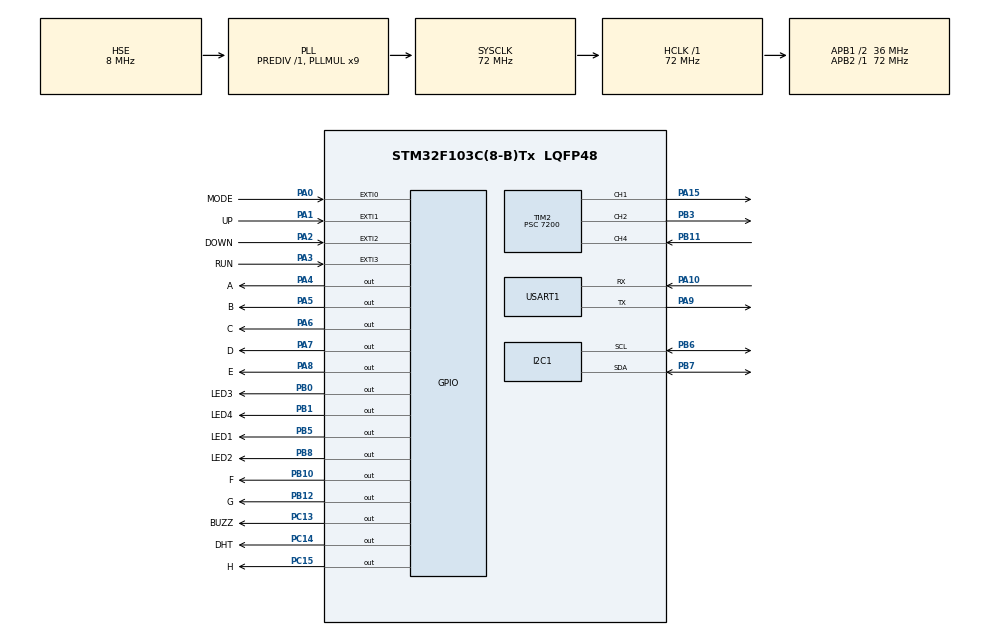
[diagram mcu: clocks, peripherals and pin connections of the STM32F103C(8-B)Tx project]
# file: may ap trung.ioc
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Mcu.Family=STM32F1
Mcu.Name=STM32F103C(8-B)Tx
Mcu.Package=LQFP48
NVIC.EXTI0_IRQn=true\:0\:0\:false\:false\:true\:true\:true\:true
NVIC.EXTI1_IRQn=true\:0\:0\:false\:false\:true\:true\:true\:true
NVIC.EXTI2_IRQn=true\:0\:0\:false\:false\:true\:true\:true\:true
NVIC.EXTI3_IRQn=true\:0\:0\:false\:false\:true\:true\:true\:true
NVIC.PriorityGroup=NVIC_PRIORITYGROUP_4
NVIC.TIM2_IRQn=true\:0\:0\:false\:false\:true\:true\:true\:true
NVIC.TIM3_IRQn=true\:0\:0\:false\:false\:true\:true\:true\:true
PA0-WKUP.GPIO_Label=MODE
PA0-WKUP.GPIO_ModeDefaultEXTI=GPIO_MODE_IT_FALLING
PA0-WKUP.GPIO_PuPd=GPIO_PULLUP
PA0-WKUP.Signal=GPXTI0
PA1.GPIO_Label=UP
PA1.GPIO_ModeDefaultEXTI=GPIO_MODE_IT_FALLING
PA1.GPIO_PuPd=GPIO_PULLUP
PA1.Signal=GPXTI1
PA10.Mode=Asynchronous
PA10.Signal=USART1_RX
PA13.Mode=Serial_Wire
PA13.Signal=SYS_JTMS-SWDIO
PA14.Mode=Serial_Wire
PA14.Signal=SYS_JTCK-SWCLK
PA15.Signal=S_TIM2_CH1_ETR
PA2.GPIO_Label=DOWN
PA2.GPIO_ModeDefaultEXTI=GPIO_MODE_IT_FALLING
PA2.GPIO_PuPd=GPIO_PULLUP
PA2.Signal=GPXTI2
PA3.GPIO_Label=RUN
PA3.GPIO_ModeDefaultEXTI=GPIO_MODE_IT_FALLING
PA3.GPIO_PuPd=GPIO_PULLUP
PA3.Signal=GPXTI3
PA4.GPIO_Label=A
PA4.Signal=GPIO_Output
PA5.GPIO_Label=B
PA5.Signal=GPIO_Output
PA6.GPIO_Label=C
PA6.Signal=GPIO_Output
PA7.GPIO_Label=D
PA7.Signal=GPIO_Output
PA8.GPIO_Label=E
PA8.Signal=GPIO_Output
PA9.Mode=Asynchronous
PA9.Signal=USART1_TX
PB0.GPIO_Label=LED3
PB0.Signal=GPIO_Output
PB1.GPIO_Label=LED4
PB1.Signal=GPIO_Output
PB10.GPIO_Label=F
PB10.Signal=GPIO_Output
PB11.Signal=S_TIM2_CH4
PB12.GPIO_Label=G
PB12.Signal=GPIO_Output
PB3.Signal=S_TIM2_CH2
PB5.GPIO_Label=LED1
PB5.Signal=GPIO_Output
PB6.Mode=I2C
PB6.Signal=I2C1_SCL
PB7.Mode=I2C
PB7.Signal=I2C1_SDA
PB8.GPIO_Label=LED2
PB8.Signal=GPIO_Output
PC13-TAMPER-RTC.GPIO_Label=BUZZ
PC13-TAMPER-RTC.Signal=GPIO_Output
PC14-OSC32_IN.GPIO_Label=DHT
PC14-OSC32_IN.Signal=GPIO_Output
PC15-OSC32_OUT.GPIO_Label=H
PC15-OSC32_OUT.Signal=GPIO_Output
PD0-OSC_IN.Mode=HSE-External-Oscillator
PD0-OSC_IN.Signal=RCC_OSC_IN
PD1-OSC_OUT.Mode=HSE-External-Oscillator
PD1-OSC_OUT.Signal=RCC_OSC_OUT
ProjectManager.HeapSize=0x200
ProjectManager.StackSize=0x400
ProjectManager.TargetToolchain=MDK-ARM V5
RCC.AHBFreq_Value=72000000
RCC.APB1CLKDivider=RCC_HCLK_DIV2
RCC.APB1Freq_Value=36000000
RCC.APB1TimFreq_Value=72000000
RCC.APB2Freq_Value=72000000
RCC.APB2TimFreq_Value=72000000
RCC.HCLKFreq_Value=72000000
RCC.PLLMUL=RCC_PLL_MUL9
RCC.PLLSourceVirtual=RCC_PLLSOURCE_HSE
RCC.SYSCLKFreq_VALUE=72000000
RCC.SYSCLKSource=RCC_SYSCLKSOURCE_PLLCLK
RCC.USBFreq_Value=72000000
SH.S_TIM2_CH1_ETR.0=TIM2_CH1,PWM Generation1 CH1
SH.S_TIM2_CH2.0=TIM2_CH2,PWM Generation2 CH2
SH.S_TIM2_CH4.0=TIM2_CH4,Input_Capture4_from_TI4
TIM2.Channel-Input_Capture4_from_TI4=TIM_CHANNEL_4
TIM2.Channel-PWM\ Generation1\ CH1=TIM_CHANNEL_1
TIM2.Channel-PWM\ Generation2\ CH2=TIM_CHANNEL_2
TIM2.Prescaler=7200
TIM3.Period=1000-1
TIM3.Prescaler=8000
TIM4.Prescaler=8000-1
USART1.VirtualMode=VM_ASYNC
VP_TIM3_VS_ClockSourceINT.Mode=Internal
VP_TIM4_VS_ClockSourceINT.Mode=Internal
board=custom

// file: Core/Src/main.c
/* USER CODE BEGIN Header */
/**
  ******************************************************************************
  * @file           : main.c
  * @brief          : Main program body
  ******************************************************************************
  * @attention
  *
  * Copyright (c) 2023 STMicroelectronics.
  * All rights reserved.
  *
  * This software is licensed under terms that can be found in the LICENSE file
  * in the root directory of this software component.
  * If no LICENSE file comes with this software, it is provided AS-IS.
  *
  ******************************************************************************
  */
/* USER CODE END Header */
#include "main.h"
/* USER CODE BEGIN Includes */
#include "variable.h"

/* USER CODE END Includes */

I2C_HandleTypeDef hi2c1;

TIM_HandleTypeDef htim2;
TIM_HandleTypeDef htim3;
TIM_HandleTypeDef htim4;

UART_HandleTypeDef huart1;

void SystemClock_Config(void);
static void MX_GPIO_Init(void);
static void MX_I2C1_Init(void);
static void MX_TIM2_Init(void);
static void MX_USART1_UART_Init(void);
static void MX_TIM3_Init(void);
static void MX_TIM4_Init(void);

int main(void)
{

  /* MCU Configuration--------------------------------------------------------*/

  /* Reset of all peripherals, Initializes the Flash interface and the Systick. */
  HAL_Init();

  /* Configure the system clock */
  SystemClock_Config();

  /* Initialize all configured peripherals */
  MX_GPIO_Init();
  MX_I2C1_Init();
  MX_TIM2_Init();
  MX_USART1_UART_Init();
  MX_TIM3_Init();
  MX_TIM4_Init();
  /* USER CODE BEGIN 2 */
	HAL_GPIO_WritePin(BUZZ_GPIO_Port, BUZZ_Pin, 1);
	DELAY_TIM_Init(&htim4);
	DHT_Init(&DHT, DHT11, &htim4, DHT_GPIO_Port, DHT_Pin);
	DS3231_Init(&DS3231, &hi2c1);

	#ifdef DEBUG
		printf("setup done");
	#endif

  /* USER CODE END 2 */

  /* Infinite loop */
  while (1)
  {

    /* USER CODE BEGIN 3 */
		if(mode == RUN)
		{
			//button_scan();
			button_handle();
			sensor_read();
			sensor_handle();
			led7_display();
		}
		else if(mode == SETTING)
		{
			button_scan();
			button_handle();
			led7_display();
		}
		else if(mode == TEST)
		{
			//hardware test
			LED7_Test();

			//function test

		}

	}
  /* USER CODE END 3 */
}

void SystemClock_Config(void)
{
  RCC_OscInitTypeDef RCC_OscInitStruct = {0};
  RCC_ClkInitTypeDef RCC_ClkInitStruct = {0};

  /** Initializes the RCC Oscillators according to the specified parameters
  * in the RCC_OscInitTypeDef structure.
  */
  RCC_OscInitStruct.OscillatorType = RCC_OSCILLATORTYPE_HSE;
  RCC_OscInitStruct.HSEState = RCC_HSE_ON;
  RCC_OscInitStruct.HSEPredivValue = RCC_HSE_PREDIV_DIV1;
  RCC_OscInitStruct.HSIState = RCC_HSI_ON;
  RCC_OscInitStruct.PLL.PLLState = RCC_PLL_ON;
  RCC_OscInitStruct.PLL.PLLSource = RCC_PLLSOURCE_HSE;
  RCC_OscInitStruct.PLL.PLLMUL = RCC_PLL_MUL9;
  if (HAL_RCC_OscConfig(&RCC_OscInitStruct) != HAL_OK)
  {
    Error_Handler();
  }

  /** Initializes the CPU, AHB and APB buses clocks
  */
  RCC_ClkInitStruct.ClockType = RCC_CLOCKTYPE_HCLK|RCC_CLOCKTYPE_SYSCLK
                              |RCC_CLOCKTYPE_PCLK1|RCC_CLOCKTYPE_PCLK2;
  RCC_ClkInitStruct.SYSCLKSource = RCC_SYSCLKSOURCE_PLLCLK;
  RCC_ClkInitStruct.AHBCLKDivider = RCC_SYSCLK_DIV1;
  RCC_ClkInitStruct.APB1CLKDivider = RCC_HCLK_DIV2;
  RCC_ClkInitStruct.APB2CLKDivider = RCC_HCLK_DIV1;

  if (HAL_RCC_ClockConfig(&RCC_ClkInitStruct, FLASH_LATENCY_2) != HAL_OK)
  {
    Error_Handler();
  }
}

static void MX_I2C1_Init(void)
{

  hi2c1.Instance = I2C1;
  hi2c1.Init.ClockSpeed = 100000;
  hi2c1.Init.DutyCycle = I2C_DUTYCYCLE_2;
  hi2c1.Init.OwnAddress1 = 0;
  hi2c1.Init.AddressingMode = I2C_ADDRESSINGMODE_7BIT;
  hi2c1.Init.DualAddressMode = I2C_DUALADDRESS_DISABLE;
  hi2c1.Init.OwnAddress2 = 0;
  hi2c1.Init.GeneralCallMode = I2C_GENERALCALL_DISABLE;
  hi2c1.Init.NoStretchMode = I2C_NOSTRETCH_DISABLE;
  if (HAL_I2C_Init(&hi2c1) != HAL_OK)
  {
    Error_Handler();
  }

}

static void MX_TIM2_Init(void)
{

  TIM_MasterConfigTypeDef sMasterConfig = {0};
  TIM_OC_InitTypeDef sConfigOC = {0};
  TIM_IC_InitTypeDef sConfigIC = {0};

  htim2.Instance = TIM2;
  htim2.Init.Prescaler = 7200;
  htim2.Init.CounterMode = TIM_COUNTERMODE_UP;
  htim2.Init.Period = 65535;
  htim2.Init.ClockDivision = TIM_CLOCKDIVISION_DIV1;
  htim2.Init.AutoReloadPreload = TIM_AUTORELOAD_PRELOAD_DISABLE;
  if (HAL_TIM_PWM_Init(&htim2) != HAL_OK)
  {
    Error_Handler();
  }
  if (HAL_TIM_IC_Init(&htim2) != HAL_OK)
  {
    Error_Handler();
  }
  sMasterConfig.MasterOutputTrigger = TIM_TRGO_RESET;
  sMasterConfig.MasterSlaveMode = TIM_MASTERSLAVEMODE_DISABLE;
  if (HAL_TIMEx_MasterConfigSynchronization(&htim2, &sMasterConfig) != HAL_OK)
  {
    Error_Handler();
  }
  sConfigOC.OCMode = TIM_OCMODE_PWM1;
  sConfigOC.Pulse = 0;
  sConfigOC.OCPolarity = TIM_OCPOLARITY_HIGH;
  sConfigOC.OCFastMode = TIM_OCFAST_DISABLE;
  if (HAL_TIM_PWM_ConfigChannel(&htim2, &sConfigOC, TIM_CHANNEL_1) != HAL_OK)
  {
    Error_Handler();
  }
  if (HAL_TIM_PWM_ConfigChannel(&htim2, &sConfigOC, TIM_CHANNEL_2) != HAL_OK)
  {
    Error_Handler();
  }
  sConfigIC.ICPolarity = TIM_INPUTCHANNELPOLARITY_RISING;
  sConfigIC.ICSelection = TIM_ICSELECTION_DIRECTTI;
  sConfigIC.ICPrescaler = TIM_ICPSC_DIV1;
  sConfigIC.ICFilter = 0;
  if (HAL_TIM_IC_ConfigChannel(&htim2, &sConfigIC, TIM_CHANNEL_4) != HAL_OK)
  {
    Error_Handler();
  }
  HAL_TIM_MspPostInit(&htim2);

}

static void MX_TIM3_Init(void)
{

  TIM_ClockConfigTypeDef sClockSourceConfig = {0};
  TIM_MasterConfigTypeDef sMasterConfig = {0};

  htim3.Instance = TIM3;
  htim3.Init.Prescaler = 8000;
  htim3.Init.CounterMode = TIM_COUNTERMODE_UP;
  htim3.Init.Period = 1000-1;
  htim3.Init.ClockDivision = TIM_CLOCKDIVISION_DIV1;
  htim3.Init.AutoReloadPreload = TIM_AUTORELOAD_PRELOAD_DISABLE;
  if (HAL_TIM_Base_Init(&htim3) != HAL_OK)
  {
    Error_Handler();
  }
  sClockSourceConfig.ClockSource = TIM_CLOCKSOURCE_INTERNAL;
  if (HAL_TIM_ConfigClockSource(&htim3, &sClockSourceConfig) != HAL_OK)
  {
    Error_Handler();
  }
  sMasterConfig.MasterOutputTrigger = TIM_TRGO_RESET;
  sMasterConfig.MasterSlaveMode = TIM_MASTERSLAVEMODE_DISABLE;
  if (HAL_TIMEx_MasterConfigSynchronization(&htim3, &sMasterConfig) != HAL_OK)
  {
    Error_Handler();
  }

}

static void MX_TIM4_Init(void)
{

  TIM_ClockConfigTypeDef sClockSourceConfig = {0};
  TIM_MasterConfigTypeDef sMasterConfig = {0};

  htim4.Instance = TIM4;
  htim4.Init.Prescaler = 8-1;
  htim4.Init.CounterMode = TIM_COUNTERMODE_UP;
  htim4.Init.Period = 65535;
  htim4.Init.ClockDivision = TIM_CLOCKDIVISION_DIV1;
  htim4.Init.AutoReloadPreload = TIM_AUTORELOAD_PRELOAD_DISABLE;
  if (HAL_TIM_Base_Init(&htim4) != HAL_OK)
  {
    Error_Handler();
  }
  sClockSourceConfig.ClockSource = TIM_CLOCKSOURCE_INTERNAL;
  if (HAL_TIM_ConfigClockSource(&htim4, &sClockSourceConfig) != HAL_OK)
  {
    Error_Handler();
  }
  sMasterConfig.MasterOutputTrigger = TIM_TRGO_RESET;
  sMasterConfig.MasterSlaveMode = TIM_MASTERSLAVEMODE_DISABLE;
  if (HAL_TIMEx_MasterConfigSynchronization(&htim4, &sMasterConfig) != HAL_OK)
  {
    Error_Handler();
  }

}

static void MX_USART1_UART_Init(void)
{

  huart1.Instance = USART1;
  huart1.Init.BaudRate = 9600;
  huart1.Init.WordLength = UART_WORDLENGTH_8B;
  huart1.Init.StopBits = UART_STOPBITS_1;
  huart1.Init.Parity = UART_PARITY_NONE;
  huart1.Init.Mode = UART_MODE_TX_RX;
  huart1.Init.HwFlowCtl = UART_HWCONTROL_NONE;
  huart1.Init.OverSampling = UART_OVERSAMPLING_16;
  if (HAL_UART_Init(&huart1) != HAL_OK)
  {
    Error_Handler();
  }

}

static void MX_GPIO_Init(void)
{
  GPIO_InitTypeDef GPIO_InitStruct = {0};

  /* GPIO Ports Clock Enable */
  __HAL_RCC_GPIOC_CLK_ENABLE();
  __HAL_RCC_GPIOD_CLK_ENABLE();
  __HAL_RCC_GPIOA_CLK_ENABLE();
  __HAL_RCC_GPIOB_CLK_ENABLE();

  /*Configure GPIO pin Output Level */
  HAL_GPIO_WritePin(GPIOC, BUZZ_Pin|DHT_Pin|H_Pin, GPIO_PIN_RESET);

  /*Configure GPIO pin Output Level */
  HAL_GPIO_WritePin(GPIOA, A_Pin|B_Pin|C_Pin|D_Pin
                          |E_Pin, GPIO_PIN_RESET);

  /*Configure GPIO pin Output Level */
  HAL_GPIO_WritePin(GPIOB, LED3_Pin|LED4_Pin|F_Pin|G_Pin
                          |LED1_Pin|LED2_Pin, GPIO_PIN_RESET);

  /*Configure GPIO pins : BUZZ_Pin DHT_Pin H_Pin */
  GPIO_InitStruct.Pin = BUZZ_Pin|DHT_Pin|H_Pin;
  GPIO_InitStruct.Mode = GPIO_MODE_OUTPUT_PP;
  GPIO_InitStruct.Pull = GPIO_NOPULL;
  GPIO_InitStruct.Speed = GPIO_SPEED_FREQ_LOW;
  HAL_GPIO_Init(GPIOC, &GPIO_InitStruct);

  /*Configure GPIO pins : MODE_Pin UP_Pin DOWN_Pin RUN_Pin */
  GPIO_InitStruct.Pin = MODE_Pin|UP_Pin|DOWN_Pin|RUN_Pin;
  GPIO_InitStruct.Mode = GPIO_MODE_IT_FALLING;
  GPIO_InitStruct.Pull = GPIO_PULLUP;
  HAL_GPIO_Init(GPIOA, &GPIO_InitStruct);

  /*Configure GPIO pins : A_Pin B_Pin C_Pin D_Pin
                           E_Pin */
  GPIO_InitStruct.Pin = A_Pin|B_Pin|C_Pin|D_Pin
                          |E_Pin;
  GPIO_InitStruct.Mode = GPIO_MODE_OUTPUT_PP;
  GPIO_InitStruct.Pull = GPIO_NOPULL;
  GPIO_InitStruct.Speed = GPIO_SPEED_FREQ_LOW;
  HAL_GPIO_Init(GPIOA, &GPIO_InitStruct);

  /*Configure GPIO pins : LED3_Pin LED4_Pin F_Pin G_Pin
                           LED1_Pin LED2_Pin */
  GPIO_InitStruct.Pin = LED3_Pin|LED4_Pin|F_Pin|G_Pin
                          |LED1_Pin|LED2_Pin;
  GPIO_InitStruct.Mode = GPIO_MODE_OUTPUT_PP;
  GPIO_InitStruct.Pull = GPIO_NOPULL;
  GPIO_InitStruct.Speed = GPIO_SPEED_FREQ_LOW;
  HAL_GPIO_Init(GPIOB, &GPIO_InitStruct);

  /* EXTI interrupt init*/
  HAL_NVIC_SetPriority(EXTI0_IRQn, 0, 0);
  HAL_NVIC_EnableIRQ(EXTI0_IRQn);

  HAL_NVIC_SetPriority(EXTI1_IRQn, 0, 0);
  HAL_NVIC_EnableIRQ(EXTI1_IRQn);

  HAL_NVIC_SetPriority(EXTI2_IRQn, 0, 0);
  HAL_NVIC_EnableIRQ(EXTI2_IRQn);

  HAL_NVIC_SetPriority(EXTI3_IRQn, 0, 0);
  HAL_NVIC_EnableIRQ(EXTI3_IRQn);

}

void Error_Handler(void)
{
  __disable_irq();
  while (1)
  {
  }
}
#if defined(__GNUC__)
int _write(int fd, char * ptr, int len) {
  HAL_UART_Transmit( & huart1, (uint8_t * ) ptr, len, HAL_MAX_DELAY);
  return len;
}

#elif defined(__CC_ARM)
int fputc(int ch, FILE *f) {
  HAL_UART_Transmit( &huart1, (uint8_t*)&ch, 1, HAL_MAX_DELAY);
  return ch;
}

#endif
